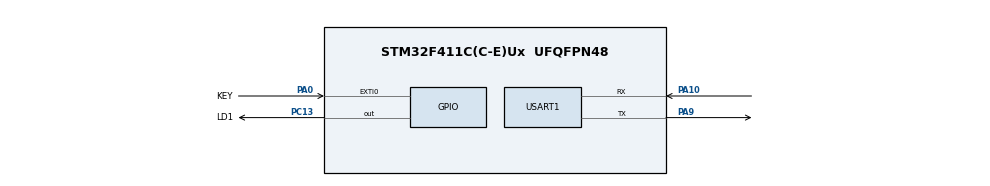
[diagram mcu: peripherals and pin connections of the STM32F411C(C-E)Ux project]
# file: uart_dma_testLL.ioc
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Dma.Request0=USART1_RX
Dma.Request1=USART1_TX
Dma.USART1_RX.0.Direction=DMA_PERIPH_TO_MEMORY
Dma.USART1_RX.0.FIFOMode=DMA_FIFOMODE_DISABLE
Dma.USART1_RX.0.Instance=DMA2_Stream2
Dma.USART1_RX.0.MemDataAlignment=DMA_MDATAALIGN_BYTE
Dma.USART1_RX.0.MemInc=DMA_MINC_ENABLE
Dma.USART1_RX.0.Mode=DMA_CIRCULAR
Dma.USART1_RX.0.PeriphDataAlignment=DMA_PDATAALIGN_BYTE
Dma.USART1_RX.0.PeriphInc=DMA_PINC_DISABLE
Dma.USART1_RX.0.Priority=DMA_PRIORITY_HIGH
Dma.USART1_TX.1.Direction=DMA_MEMORY_TO_PERIPH
Dma.USART1_TX.1.FIFOMode=DMA_FIFOMODE_DISABLE
Dma.USART1_TX.1.Instance=DMA2_Stream7
Dma.USART1_TX.1.MemDataAlignment=DMA_MDATAALIGN_BYTE
Dma.USART1_TX.1.MemInc=DMA_MINC_ENABLE
Dma.USART1_TX.1.Mode=DMA_NORMAL
Dma.USART1_TX.1.PeriphDataAlignment=DMA_PDATAALIGN_BYTE
Dma.USART1_TX.1.PeriphInc=DMA_PINC_DISABLE
Dma.USART1_TX.1.Priority=DMA_PRIORITY_MEDIUM
Mcu.Family=STM32F4
Mcu.Name=STM32F411C(C-E)Ux
Mcu.Package=UFQFPN48
NVIC.DMA2_Stream2_IRQn=true\:0\:0\:false\:false\:true\:false\:true
NVIC.DMA2_Stream7_IRQn=true\:0\:0\:false\:false\:true\:false\:true
NVIC.EXTI0_IRQn=true\:0\:0\:false\:false\:true\:true\:true
NVIC.PriorityGroup=NVIC_PRIORITYGROUP_4
PA0-WKUP.GPIO_Label=KEY
PA0-WKUP.GPIO_ModeDefaultEXTI=GPIO_MODE_IT_FALLING
PA0-WKUP.GPIO_PuPd=GPIO_PULLUP
PA0-WKUP.Signal=GPXTI0
PA10.Mode=Asynchronous
PA10.Signal=USART1_RX
PA13.Mode=Serial_Wire
PA13.Signal=SYS_JTMS-SWDIO
PA14.Mode=Serial_Wire
PA14.Signal=SYS_JTCK-SWCLK
PA9.Mode=Asynchronous
PA9.Signal=USART1_TX
PC13-ANTI_TAMP.GPIO_Label=LD1
PC13-ANTI_TAMP.PinState=GPIO_PIN_SET
PC13-ANTI_TAMP.Signal=GPIO_Output
PH0\ -\ OSC_IN.Mode=HSE-External-Oscillator
PH0\ -\ OSC_IN.Signal=RCC_OSC_IN
PH1\ -\ OSC_OUT.Mode=HSE-External-Oscillator
PH1\ -\ OSC_OUT.Signal=RCC_OSC_OUT
ProjectManager.HeapSize=0x200
ProjectManager.StackSize=0x400
ProjectManager.TargetToolchain=STM32CubeIDE
RCC.48MHZClocksFreq_Value=50000000
RCC.AHBFreq_Value=100000000
RCC.APB1CLKDivider=RCC_HCLK_DIV2
RCC.APB1Freq_Value=50000000
RCC.APB1TimFreq_Value=100000000
RCC.APB2Freq_Value=100000000
RCC.APB2TimFreq_Value=100000000
RCC.CortexFreq_Value=100000000
RCC.HCLKFreq_Value=100000000
RCC.HSE_VALUE=25000000
RCC.HSI_VALUE=16000000
RCC.LSE_VALUE=32768
RCC.PLLM=12
RCC.PLLN=96
RCC.PLLSourceVirtual=RCC_PLLSOURCE_HSE
RCC.SYSCLKFreq_VALUE=100000000
RCC.SYSCLKSource=RCC_SYSCLKSOURCE_PLLCLK
RCC.VCOOutputFreq_Value=200000000
USART1.VirtualMode=VM_ASYNC
board=custom

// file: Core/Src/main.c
/* USER CODE BEGIN Header */
/**
  ******************************************************************************
  * @file           : main.c
  * @brief          : Main program body
  ******************************************************************************
  * @attention
  *
  * <h2><center>&copy; Copyright (c) 2021 STMicroelectronics.
  * All rights reserved.</center></h2>
  *
  * This software component is licensed by ST under BSD 3-Clause license,
  * the "License"; You may not use this file except in compliance with the
  * License. You may obtain a copy of the License at:
  *                        opensource.org/licenses/BSD-3-Clause
  *
  ******************************************************************************
  */
/* USER CODE END Header */
#include "main.h"
#include "dma.h"
#include "usart.h"
#include "gpio.h"

/* USER CODE BEGIN PV */
volatile uint8_t KEYPress=0;
volatile uint8_t FlagSend=0;
//buffer variabs for transmission
const uint8_t aTXBuffer[]="START";
uint8_t DataToTransmit = sizeof(aTXBuffer);
volatile uint8_t TransmissionComplete=0;	//flag for isr

//buffer variabs for reception
const uint8_t aRXBuffer[]="END";
uint8_t DataToReceive=sizeof(aRXBuffer);
volatile uint8_t ReceptionComplete=0;	//flag for isr
/* USER CODE END PV */

void SystemClock_Config(void);

int main(void)
{

  /* MCU Configuration--------------------------------------------------------*/

  /* Reset of all peripherals, Initializes the Flash interface and the Systick. */

  LL_APB2_GRP1_EnableClock(LL_APB2_GRP1_PERIPH_SYSCFG);
  LL_APB1_GRP1_EnableClock(LL_APB1_GRP1_PERIPH_PWR);

  NVIC_SetPriorityGrouping(NVIC_PRIORITYGROUP_4);

  /* System interrupt init*/

  /* Configure the system clock */
  SystemClock_Config();

  /* Initialize all configured peripherals */
  MX_GPIO_Init();
  MX_DMA_Init();
  MX_USART1_UART_Init();
  /* USER CODE BEGIN 2 */
   ConfigDMA();

  LL_EXTI_EnableIT_0_31(LL_EXTI_LINE_0);

  while(KEYPress==0)
  {

  }
  KEYPress=1;
  /* Enable DMA RX Interrupt */
  LL_USART_EnableDMAReq_RX(USART1);

  /* Enable DMA TX Interrupt */
  LL_USART_EnableDMAReq_TX(USART1);

  /* Enable DMA Channel  */
  LL_DMA_EnableStream(DMA2, LL_DMA_STREAM_7);

  /* Enable DMA Channel  */
  LL_DMA_EnableStream(DMA2, LL_DMA_STREAM_2);
  /* 1 - Wait end of transmission */
  while (TransmissionComplete != 1)
  {
  }
  /* Disable DMA1 Tx Channel */
  LL_DMA_DisableStream(DMA2, LL_DMA_STREAM_7);

  /* 2 - Wait end of reception */
  while (ReceptionComplete != 1)
  {
  }
  /* Disable DMA1 Rx Channel */
  LL_DMA_DisableStream(DMA2, LL_DMA_STREAM_2);
  /* USER CODE END 2 */

  /* Infinite loop */
  while (1)
  {

  }
}

void SystemClock_Config(void)
{
  LL_FLASH_SetLatency(LL_FLASH_LATENCY_3);
  while(LL_FLASH_GetLatency()!= LL_FLASH_LATENCY_3)
  {
  }
  LL_PWR_SetRegulVoltageScaling(LL_PWR_REGU_VOLTAGE_SCALE1);
  LL_RCC_HSE_Enable();

   /* Wait till HSE is ready */
  while(LL_RCC_HSE_IsReady() != 1)
  {

  }
  LL_RCC_PLL_ConfigDomain_SYS(LL_RCC_PLLSOURCE_HSE, LL_RCC_PLLM_DIV_12, 96, LL_RCC_PLLP_DIV_2);
  LL_RCC_PLL_Enable();

   /* Wait till PLL is ready */
  while(LL_RCC_PLL_IsReady() != 1)
  {

  }
  LL_RCC_SetAHBPrescaler(LL_RCC_SYSCLK_DIV_1);
  LL_RCC_SetAPB1Prescaler(LL_RCC_APB1_DIV_2);
  LL_RCC_SetAPB2Prescaler(LL_RCC_APB2_DIV_1);
  LL_RCC_SetSysClkSource(LL_RCC_SYS_CLKSOURCE_PLL);

   /* Wait till System clock is ready */
  while(LL_RCC_GetSysClkSource() != LL_RCC_SYS_CLKSOURCE_STATUS_PLL)
  {

  }
  LL_Init1msTick(100000000);
  LL_SetSystemCoreClock(100000000);
  LL_RCC_SetTIMPrescaler(LL_RCC_TIM_PRESCALER_TWICE);
}

/* USER CODE BEGIN 4 */
void KEY_Callback()
{
	KEYPress=1;
}
/* USER CODE END 4 */

void Error_Handler(void)
{
  __disable_irq();
  while (1)
  {
  }
}

/************************ (C) COPYRIGHT STMicroelectronics *****END OF FILE****/
